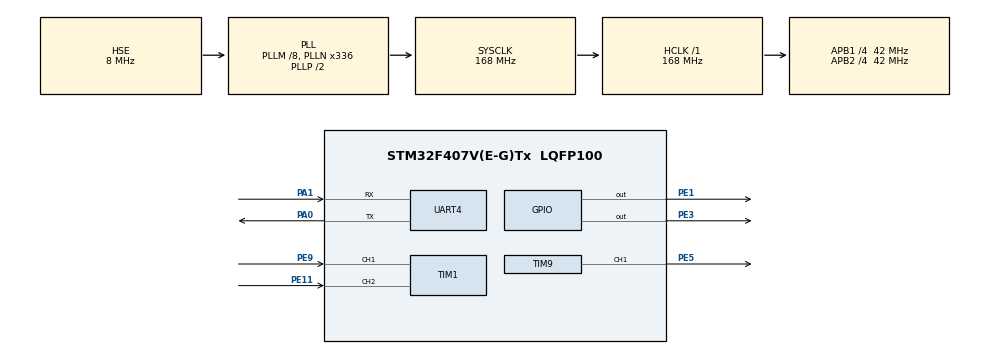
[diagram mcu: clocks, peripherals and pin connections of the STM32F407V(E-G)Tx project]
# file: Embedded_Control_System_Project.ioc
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Dma.Request0=UART4_RX
Dma.UART4_RX.0.Direction=DMA_PERIPH_TO_MEMORY
Dma.UART4_RX.0.FIFOMode=DMA_FIFOMODE_DISABLE
Dma.UART4_RX.0.Instance=DMA1_Stream2
Dma.UART4_RX.0.MemDataAlignment=DMA_MDATAALIGN_BYTE
Dma.UART4_RX.0.MemInc=DMA_MINC_ENABLE
Dma.UART4_RX.0.Mode=DMA_CIRCULAR
Dma.UART4_RX.0.PeriphDataAlignment=DMA_PDATAALIGN_BYTE
Dma.UART4_RX.0.PeriphInc=DMA_PINC_DISABLE
Dma.UART4_RX.0.Priority=DMA_PRIORITY_LOW
Mcu.Family=STM32F4
Mcu.Name=STM32F407V(E-G)Tx
Mcu.Package=LQFP100
NVIC.DMA1_Stream2_IRQn=true\:0\:0\:false\:false\:true\:false\:true
NVIC.PriorityGroup=NVIC_PRIORITYGROUP_4
PA0-WKUP.Mode=Asynchronous
PA0-WKUP.Signal=UART4_TX
PA1.Mode=Asynchronous
PA1.Signal=UART4_RX
PA13.Mode=Serial_Wire
PA13.Signal=SYS_JTMS-SWDIO
PA14.Mode=Serial_Wire
PA14.Signal=SYS_JTCK-SWCLK
PE1.Signal=GPIO_Output
PE11.Signal=S_TIM1_CH2
PE3.Signal=GPIO_Output
PE5.Signal=S_TIM9_CH1
PE9.Signal=S_TIM1_CH1
PH0-OSC_IN.Mode=HSE-External-Oscillator
PH0-OSC_IN.Signal=RCC_OSC_IN
PH1-OSC_OUT.Mode=HSE-External-Oscillator
PH1-OSC_OUT.Signal=RCC_OSC_OUT
ProjectManager.HeapSize=0x200
ProjectManager.StackSize=0x400
ProjectManager.TargetToolchain=MDK-ARM V5.32
RCC.48MHZClocksFreq_Value=84000000
RCC.AHBFreq_Value=168000000
RCC.APB1CLKDivider=RCC_HCLK_DIV4
RCC.APB1Freq_Value=42000000
RCC.APB1TimFreq_Value=84000000
RCC.APB2CLKDivider=RCC_HCLK_DIV4
RCC.APB2Freq_Value=42000000
RCC.APB2TimFreq_Value=84000000
RCC.CortexFreq_Value=168000000
RCC.HCLKFreq_Value=168000000
RCC.HSE_VALUE=8000000
RCC.HSI_VALUE=16000000
RCC.LSE_VALUE=32768
RCC.PLLM=8
RCC.PLLN=336
RCC.PLLSourceVirtual=RCC_PLLSOURCE_HSE
RCC.SYSCLKFreq_VALUE=168000000
RCC.SYSCLKSource=RCC_SYSCLKSOURCE_PLLCLK
RCC.VCOOutputFreq_Value=336000000
SH.S_TIM1_CH1.0=TIM1_CH1,Encoder_Interface
SH.S_TIM1_CH2.0=TIM1_CH2,Encoder_Interface
SH.S_TIM9_CH1.0=TIM9_CH1,PWM Generation1 CH1
TIM1.EncoderMode=TIM_ENCODERMODE_TI12
TIM9.Channel-PWM\ Generation1\ CH1=TIM_CHANNEL_1
TIM9.Period=3359
UART4.VirtualMode=Asynchronous
board=custom

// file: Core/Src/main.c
/* USER CODE BEGIN Header */
/**
  ******************************************************************************
  * @file           : main.c
  * @brief          : Main program body
  ******************************************************************************
  * @attention
  *
  * <h2><center>&copy; Copyright (c) 2021 STMicroelectronics.
  * All rights reserved.</center></h2>
  *
  * This software component is licensed by ST under BSD 3-Clause license,
  * the "License"; You may not use this file except in compliance with the
  * License. You may obtain a copy of the License at:
  *                        opensource.org/licenses/BSD-3-Clause
  *
  ******************************************************************************
  */
/* USER CODE END Header */
#include "main.h"

/* USER CODE BEGIN Includes */
#include "stdio.h"
/* USER CODE END Includes */

TIM_HandleTypeDef htim1;
TIM_HandleTypeDef htim9;

UART_HandleTypeDef huart4;
DMA_HandleTypeDef hdma_uart4_rx;

void SystemClock_Config(void);
static void MX_GPIO_Init(void);
static void MX_DMA_Init(void);
static void MX_TIM1_Init(void);
static void MX_TIM9_Init(void);
static void MX_UART4_Init(void);
/* USER CODE BEGIN PFP */
	double speed;
	int duty=0, m=0, run=0;
	double e, ep, p_e, pp_e, pPart=0 , iPart=0, dPart=0, udk, predPart = 0, pwm;
    double Kp =0, Ki=20, Kd =0.8;
	int setpoint=0;
	uint16_t	PWM_freq=25000;
	float i;
	char txBuffer[64] ={0}; //tx
	uint8_t rxBuffer[64] ={0}; //rx
	int flag=0;
/* USER CODE END PFP */

/* USER CODE BEGIN 0 */
double ConvertByte2Double(uint8_t *nbytes)
{
		//uint8_t nbytes[8] = {214,21,111,109,83,174,177,63}; //OK
		double *dDouble = (double*) nbytes;
		return *dDouble;
}
uint32_t max_duty(void)
{
	static uint32_t max_duty=0;
	max_duty=(uint32_t)(84000000/PWM_freq);
	return (uint32_t)max_duty;
}
//Note: Function để đ�?c (lấy mẫu): số xung đếm được trên 1 th�?i gian (sample)
/* Get encoder counter 32 bit */
int32_t ENC0_GetSpeed(void)
{
 static int32_t p = 0, p_pre = 0, dp = 0, pre1_dp=0, pre2_dp=0;
 static float TB=0;
 p = (int32_t)TIM1->CNT;
 dp = p - p_pre; //+/- (speed)
 if (dp > 32768)
 dp -= 65536;
 else if (dp < -32768)
 dp += 65536;
 p_pre = p;
 pre2_dp=pre1_dp;
 pre1_dp=dp;
 TB=(pre2_dp+pre1_dp+dp)/3;
 return dp;
}
void PID_speed(void)
{
 e = setpoint - speed;
 ep=e*100/setpoint;
 if (ep>0) ep=ep;
 else ep=-ep;
 pPart = Kp * e;
 iPart += 0.5 * 0.2* Ki * e;
 dPart = Kd / 0.2* e - predPart;
 predPart = Kd / 0.2 * e;
 udk = pPart + iPart + dPart;
 /* Saturate */
 if (udk > m*9/10)
 pwm = m*9/10;
 else if (udk < -m*9/10)
 pwm = -m*9/10;
 else pwm = udk;
 udk=pwm*100.0/m;
}

void xuat_PWM(void)  //use timer 9 to export PWM
{
	TIM9->ARR=(uint32_t)m-1;  //change frequency PWM
	duty=(int)pwm;
	if (duty>=0)
		{
	__HAL_TIM_SET_COMPARE(&htim9, TIM_CHANNEL_1,duty);
	HAL_GPIO_WritePin(GPIOE, GPIO_PIN_3, RESET);
		}
	else
		{
	__HAL_TIM_SET_COMPARE(&htim9, TIM_CHANNEL_1, m+duty);
	HAL_GPIO_WritePin(GPIOE, GPIO_PIN_3, SET);
		}
	sprintf(txBuffer,"S,%ld,%ld,%ld,%ld\r\n",(long)(setpoint),(long)(speed*100),(long)(udk*100),(long)(ep*1000));
	HAL_UART_Transmit(&huart4,(uint8_t*)txBuffer,strlen(txBuffer),30);
}
void HAL_UART_RxCpltCallback(UART_HandleTypeDef *huart)
{
	if (huart->Instance==huart4.Instance)
	{
		flag=1;
	}
}
void Receive_data_processing(void)
{
	run=rxBuffer[0];
	setpoint=rxBuffer[2]<<8|rxBuffer[1];
	if (setpoint>32768) setpoint-=65536;
	PWM_freq=rxBuffer[4]<<8|rxBuffer[3];
	int i=0;
	uint8_t nbytes[8] = {0,0,0,0,0,0,0};
	for(i=0;i<8;i++) nbytes[i] = rxBuffer[5+i];
	Kp = ConvertByte2Double(nbytes);

    for(i=0;i<8;i++) nbytes[i] = rxBuffer[13+i];
    Ki = ConvertByte2Double(nbytes);

	for(i=0;i<8;i++) nbytes[i] = rxBuffer[21+i];
	Kd = ConvertByte2Double(nbytes);
	flag=0;
}
/* USER CODE END 0 */

int main(void)
{

  /* MCU Configuration--------------------------------------------------------*/

  /* Reset of all peripherals, Initializes the Flash interface and the Systick. */
  HAL_Init();

  /* Configure the system clock */
  SystemClock_Config();

  /* Initialize all configured peripherals */
  MX_GPIO_Init();
  MX_DMA_Init();
  MX_TIM1_Init();
  MX_TIM9_Init();
  MX_UART4_Init();
  /* USER CODE BEGIN 2 */
    HAL_TIM_Encoder_Start(&htim1, TIM_CHANNEL_1 | TIM_CHANNEL_2);
  	HAL_TIM_PWM_Start(&htim9, TIM_CHANNEL_1);
  	HAL_UART_Receive_DMA(&huart4, &rxBuffer, 29);
  /* USER CODE END 2 */

  /* Infinite loop */
  while (1)
  {

    /* USER CODE BEGIN 3 */
	  	  	if (flag==1)
	  	  	{
	  	  	Receive_data_processing();
	  	  	}
	  	  	if (run==1)
	  	  	{
	  	  		m=max_duty();
	  	  		i=ENC0_GetSpeed();
	  	  		speed=i*60.0/0.2/940;
	  	  		PID_speed();
	  	  		xuat_PWM();
	  	  	}
	  	  	else
	  	  	{
	  	    	i=ENC0_GetSpeed();
	  	    	speed=i*60.0/0.2/940;
	  	    	setpoint=0;
	  	  		pwm=0;
	  	  		PID_speed();
	  	  		udk=0;
	  	  		xuat_PWM();
	  	  	}
	  		HAL_Delay(200);
  }
  /* USER CODE END 3 */
}

void SystemClock_Config(void)
{
  RCC_OscInitTypeDef RCC_OscInitStruct = {0};
  RCC_ClkInitTypeDef RCC_ClkInitStruct = {0};

  /** Configure the main internal regulator output voltage
  */
  __HAL_RCC_PWR_CLK_ENABLE();
  __HAL_PWR_VOLTAGESCALING_CONFIG(PWR_REGULATOR_VOLTAGE_SCALE1);
  /** Initializes the RCC Oscillators according to the specified parameters
  * in the RCC_OscInitTypeDef structure.
  */
  RCC_OscInitStruct.OscillatorType = RCC_OSCILLATORTYPE_HSE;
  RCC_OscInitStruct.HSEState = RCC_HSE_ON;
  RCC_OscInitStruct.PLL.PLLState = RCC_PLL_ON;
  RCC_OscInitStruct.PLL.PLLSource = RCC_PLLSOURCE_HSE;
  RCC_OscInitStruct.PLL.PLLM = 8;
  RCC_OscInitStruct.PLL.PLLN = 336;
  RCC_OscInitStruct.PLL.PLLP = RCC_PLLP_DIV2;
  RCC_OscInitStruct.PLL.PLLQ = 4;
  if (HAL_RCC_OscConfig(&RCC_OscInitStruct) != HAL_OK)
  {
    Error_Handler();
  }
  /** Initializes the CPU, AHB and APB buses clocks
  */
  RCC_ClkInitStruct.ClockType = RCC_CLOCKTYPE_HCLK|RCC_CLOCKTYPE_SYSCLK
                              |RCC_CLOCKTYPE_PCLK1|RCC_CLOCKTYPE_PCLK2;
  RCC_ClkInitStruct.SYSCLKSource = RCC_SYSCLKSOURCE_PLLCLK;
  RCC_ClkInitStruct.AHBCLKDivider = RCC_SYSCLK_DIV1;
  RCC_ClkInitStruct.APB1CLKDivider = RCC_HCLK_DIV4;
  RCC_ClkInitStruct.APB2CLKDivider = RCC_HCLK_DIV4;

  if (HAL_RCC_ClockConfig(&RCC_ClkInitStruct, FLASH_LATENCY_5) != HAL_OK)
  {
    Error_Handler();
  }
}

static void MX_TIM1_Init(void)
{

  TIM_Encoder_InitTypeDef sConfig = {0};
  TIM_MasterConfigTypeDef sMasterConfig = {0};

  htim1.Instance = TIM1;
  htim1.Init.Prescaler = 0;
  htim1.Init.CounterMode = TIM_COUNTERMODE_UP;
  htim1.Init.Period = 65535;
  htim1.Init.ClockDivision = TIM_CLOCKDIVISION_DIV1;
  htim1.Init.RepetitionCounter = 0;
  htim1.Init.AutoReloadPreload = TIM_AUTORELOAD_PRELOAD_DISABLE;
  sConfig.EncoderMode = TIM_ENCODERMODE_TI12;
  sConfig.IC1Polarity = TIM_ICPOLARITY_RISING;
  sConfig.IC1Selection = TIM_ICSELECTION_DIRECTTI;
  sConfig.IC1Prescaler = TIM_ICPSC_DIV1;
  sConfig.IC1Filter = 0;
  sConfig.IC2Polarity = TIM_ICPOLARITY_RISING;
  sConfig.IC2Selection = TIM_ICSELECTION_DIRECTTI;
  sConfig.IC2Prescaler = TIM_ICPSC_DIV1;
  sConfig.IC2Filter = 0;
  if (HAL_TIM_Encoder_Init(&htim1, &sConfig) != HAL_OK)
  {
    Error_Handler();
  }
  sMasterConfig.MasterOutputTrigger = TIM_TRGO_RESET;
  sMasterConfig.MasterSlaveMode = TIM_MASTERSLAVEMODE_DISABLE;
  if (HAL_TIMEx_MasterConfigSynchronization(&htim1, &sMasterConfig) != HAL_OK)
  {
    Error_Handler();
  }

}

static void MX_TIM9_Init(void)
{

  TIM_OC_InitTypeDef sConfigOC = {0};

  htim9.Instance = TIM9;
  htim9.Init.Prescaler = 0;
  htim9.Init.CounterMode = TIM_COUNTERMODE_UP;
  htim9.Init.Period = 3359;
  htim9.Init.ClockDivision = TIM_CLOCKDIVISION_DIV1;
  htim9.Init.AutoReloadPreload = TIM_AUTORELOAD_PRELOAD_DISABLE;
  if (HAL_TIM_PWM_Init(&htim9) != HAL_OK)
  {
    Error_Handler();
  }
  sConfigOC.OCMode = TIM_OCMODE_PWM1;
  sConfigOC.Pulse = 0;
  sConfigOC.OCPolarity = TIM_OCPOLARITY_HIGH;
  sConfigOC.OCFastMode = TIM_OCFAST_DISABLE;
  if (HAL_TIM_PWM_ConfigChannel(&htim9, &sConfigOC, TIM_CHANNEL_1) != HAL_OK)
  {
    Error_Handler();
  }
  HAL_TIM_MspPostInit(&htim9);

}

static void MX_UART4_Init(void)
{

  huart4.Instance = UART4;
  huart4.Init.BaudRate = 115200;
  huart4.Init.WordLength = UART_WORDLENGTH_8B;
  huart4.Init.StopBits = UART_STOPBITS_1;
  huart4.Init.Parity = UART_PARITY_NONE;
  huart4.Init.Mode = UART_MODE_TX_RX;
  huart4.Init.HwFlowCtl = UART_HWCONTROL_NONE;
  huart4.Init.OverSampling = UART_OVERSAMPLING_16;
  if (HAL_UART_Init(&huart4) != HAL_OK)
  {
    Error_Handler();
  }

}

static void MX_DMA_Init(void)
{

  /* DMA controller clock enable */
  __HAL_RCC_DMA1_CLK_ENABLE();

  /* DMA interrupt init */
  /* DMA1_Stream2_IRQn interrupt configuration */
  HAL_NVIC_SetPriority(DMA1_Stream2_IRQn, 0, 0);
  HAL_NVIC_EnableIRQ(DMA1_Stream2_IRQn);

}

static void MX_GPIO_Init(void)
{
  GPIO_InitTypeDef GPIO_InitStruct = {0};

  /* GPIO Ports Clock Enable */
  __HAL_RCC_GPIOE_CLK_ENABLE();
  __HAL_RCC_GPIOH_CLK_ENABLE();
  __HAL_RCC_GPIOA_CLK_ENABLE();

  /*Configure GPIO pin Output Level */
  HAL_GPIO_WritePin(GPIOE, GPIO_PIN_3|GPIO_PIN_1, GPIO_PIN_RESET);

  /*Configure GPIO pins : PE3 PE1 */
  GPIO_InitStruct.Pin = GPIO_PIN_3|GPIO_PIN_1;
  GPIO_InitStruct.Mode = GPIO_MODE_OUTPUT_PP;
  GPIO_InitStruct.Pull = GPIO_NOPULL;
  GPIO_InitStruct.Speed = GPIO_SPEED_FREQ_LOW;
  HAL_GPIO_Init(GPIOE, &GPIO_InitStruct);

}

void Error_Handler(void)
{
  __disable_irq();
  while (1)
  {
  }
}

/************************ (C) COPYRIGHT STMicroelectronics *****END OF FILE****/
